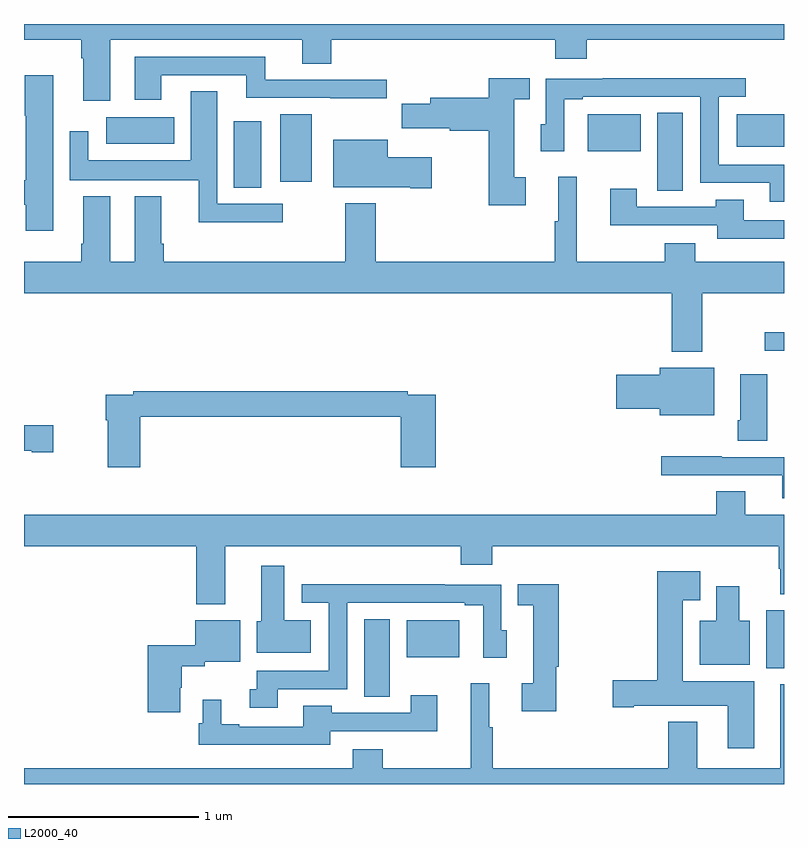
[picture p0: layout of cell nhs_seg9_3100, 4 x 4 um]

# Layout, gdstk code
import gdstk
lib = gdstk.Library(unit=1e-6, precision=1e-09)
def R(c, l, rs):  # rectangles x0, y0, x1, y1
    for r in rs: c.add(gdstk.rectangle(r[:2], r[2:], *l))
def P(c, l, *ps):  # polygons
    for p in ps: c.add(gdstk.Polygon(p, *l))
L2000_40 = (2000, 40)

nhs_seg9_3100 = lib.new_cell('nhs_seg9_3100')
R(nhs_seg9_3100, L2000_40, [(290.792,1196.959,290.926,1197.368), (292.907,1197.11,293,1197.415), (291.014,1197.167,291.292,1197.361), (292.899,1198.779,293,1198.877), (292.334,1199.623,292.468,1200.032), (290.105,1199.638,290.248,1199.989), (290.348,1199.67,290.515,1200.026), (291.968,1199.831,292.246,1200.025), (292.751,1199.855,293,1200.025), (289.434,1199.87,289.792,1200.01)])
P(nhs_seg9_3100, L2000_40, [(289.453,1200.416),(290.465,1200.416),(290.465,1200.292),(290.618,1200.292),(290.618,1200.416),(291.797,1200.416),(291.797,1200.317),(291.962,1200.317),(291.962,1200.416),(293,1200.416),(293,1200.5),(289,1200.5),(289,1200.416),(289.301,1200.416),(289.301,1200.32),(289.313,1200.32),(289.313,1200.096),(289.453,1200.096)],
  [(289.723,1200.231),(290.171,1200.231),(290.171,1200.111),(290.611,1200.111),(290.611,1200.109),(290.908,1200.109),(290.908,1200.207),(290.27,1200.207),(290.27,1200.327),(289.583,1200.327),(289.583,1200.102),(289.723,1200.102)],
  [(289.153,1200.229),(289.004,1200.229),(289.004,1200.016),(289.009,1200.016),(289.009,1199.678),(289,1199.678),(289,1199.55),(289.009,1199.55),(289.009,1199.412),(289.153,1199.412)],
  [(293,1199.76),(292.656,1199.76),(292.656,1200.117),(292.798,1200.117),(292.798,1200.215),(292.045,1200.215),(292.045,1200.213),(291.747,1200.213),(291.747,1199.973),(291.719,1199.973),(291.719,1199.829),(291.843,1199.829),(291.843,1200.105),(291.94,1200.105),(291.94,1200.117),(292.56,1200.117),(292.56,1199.664),(292.925,1199.664),(292.925,1199.565),(293,1199.565)],
  [(291.64,1199.694),(291.58,1199.694),(291.58,1200.105),(291.662,1200.105),(291.662,1200.215),(291.446,1200.215),(291.446,1200.111),(291.137,1200.111),(291.137,1200.08),(290.988,1200.08),(290.988,1199.951),(291.241,1199.951),(291.241,1199.939),(291.446,1199.939),(291.446,1199.546),(291.64,1199.546)],
  [(290.362,1199.553),(290.017,1199.553),(290.017,1200.146),(289.877,1200.146),(289.877,1199.782),(289.338,1199.782),(289.338,1199.935),(289.242,1199.935),(289.242,1199.678),(289.919,1199.678),(289.919,1199.456),(290.362,1199.456)],
  [(291.145,1199.8),(290.914,1199.8),(290.914,1199.89),(290.627,1199.89),(290.627,1199.642),(291.032,1199.642),(291.032,1199.635),(291.145,1199.635)],
  [(289.583,1199.593),(289.583,1199.248),(289.453,1199.248),(289.453,1199.593),(289.313,1199.593),(289.313,1199.344),(289.301,1199.344),(289.301,1199.248),(289,1199.248),(289,1199.084),(292.409,1199.084),(292.409,1198.775),(292.569,1198.775),(292.569,1199.084),(293,1199.084),(293,1199.248),(292.532,1199.248),(292.532,1199.347),(292.372,1199.347),(292.372,1199.248),(291.91,1199.248),(291.91,1199.695),(291.812,1199.695),(291.812,1199.463),(291.793,1199.463),(291.793,1199.248),(290.852,1199.248),(290.852,1199.557),(290.692,1199.557),(290.692,1199.248),(289.736,1199.248),(289.736,1199.344),(289.723,1199.344),(289.723,1199.593)],
  [(293,1199.466),(292.789,1199.466),(292.789,1199.575),(292.642,1199.575),(292.642,1199.538),(292.225,1199.538),(292.225,1199.632),(292.085,1199.632),(292.085,1199.442),(292.649,1199.442),(292.649,1199.37),(293,1199.37)],
  [(292.633,1198.69),(292.346,1198.69),(292.346,1198.653),(292.116,1198.653),(292.116,1198.475),(292.346,1198.475),(292.346,1198.442),(292.633,1198.442)],
  [(292.912,1198.657),(292.769,1198.657),(292.769,1198.414),(292.757,1198.414),(292.757,1198.306),(292.912,1198.306)],
  [(289.613,1198.432),(290.984,1198.432),(290.984,1198.167),(291.167,1198.167),(291.167,1198.548),(291.02,1198.548),(291.02,1198.568),(289.576,1198.568),(289.576,1198.548),(289.43,1198.548),(289.43,1198.415),(289.442,1198.415),(289.442,1198.167),(289.613,1198.167)],
  [(289.153,1198.388),(289,1198.388),(289,1198.253),(289.04,1198.253),(289.04,1198.246),(289.153,1198.246)],
  [(293,1198.221),(292.673,1198.221),(292.673,1198.224),(292.353,1198.224),(292.353,1198.125),(292.991,1198.125),(292.991,1198.005),(293,1198.005)],
  [(290.059,1197.752),(291.299,1197.752),(291.299,1197.653),(291.464,1197.653),(291.464,1197.752),(292.972,1197.752),(292.972,1197.632),(292.979,1197.632),(292.979,1197.5),(293,1197.5),(293,1197.916),(292.795,1197.916),(292.795,1198.04),(292.643,1198.04),(292.643,1197.916),(289,1197.916),(289,1197.752),(289.907,1197.752),(289.907,1197.447),(290.059,1197.447)],
  [(290.509,1197.361),(290.371,1197.361),(290.371,1197.649),(290.249,1197.649),(290.249,1197.357),(290.225,1197.357),(290.225,1197.191),(290.509,1197.191)],
  [(292.843,1197.04),(292.468,1197.04),(292.468,1197.467),(292.558,1197.467),(292.558,1197.619),(292.334,1197.619),(292.334,1197.047),(292.098,1197.047),(292.098,1196.905),(292.21,1196.905),(292.21,1196.912),(292.703,1196.912),(292.703,1196.688),(292.843,1196.688)],
  [(291.802,1197.118),(291.815,1197.118),(291.815,1197.551),(291.598,1197.551),(291.598,1197.441),(291.68,1197.441),(291.68,1197.03),(291.621,1197.03),(291.621,1196.882),(291.802,1196.882)],
  [(290.335,1197),(290.7,1197),(290.7,1197.453),(291.32,1197.453),(291.32,1197.441),(291.417,1197.441),(291.417,1197.165),(291.541,1197.165),(291.541,1197.309),(291.513,1197.309),(291.513,1197.549),(291.215,1197.549),(291.215,1197.551),(290.463,1197.551),(290.463,1197.453),(290.604,1197.453),(290.604,1197.096),(290.226,1197.096),(290.226,1196.999),(290.187,1196.999),(290.187,1196.901),(290.335,1196.901)],
  [(292.819,1197.358),(292.765,1197.358),(292.765,1197.541),(292.643,1197.541),(292.643,1197.358),(292.556,1197.358),(292.556,1197.128),(292.819,1197.128)],
  [(289.822,1197.006),(289.83,1197.006),(289.83,1197.119),(289.95,1197.119),(289.95,1197.144),(290.137,1197.144),(290.137,1197.361),(289.901,1197.361),(289.901,1197.229),(289.652,1197.229),(289.652,1196.877),(289.822,1196.877)],
  [(293,1197.025),(292.979,1197.025),(292.979,1196.584),(292.543,1196.584),(292.543,1196.827),(292.391,1196.827),(292.391,1196.584),(291.467,1196.584),(291.467,1196.799),(291.448,1196.799),(291.448,1197.031),(291.35,1197.031),(291.35,1196.584),(290.889,1196.584),(290.889,1196.683),(290.729,1196.683),(290.729,1196.584),(289,1196.584),(289,1196.5),(293,1196.5)],
  [(290.611,1196.778),(291.175,1196.778),(291.175,1196.968),(291.035,1196.968),(291.035,1196.874),(290.619,1196.874),(290.619,1196.911),(290.471,1196.911),(290.471,1196.802),(290.134,1196.802),(290.134,1196.815),(290.038,1196.815),(290.038,1196.944),(289.941,1196.944),(289.941,1196.82),(289.921,1196.82),(289.921,1196.706),(290.611,1196.706)])

lib.write_gds('nhs_seg9_3100.gds')
